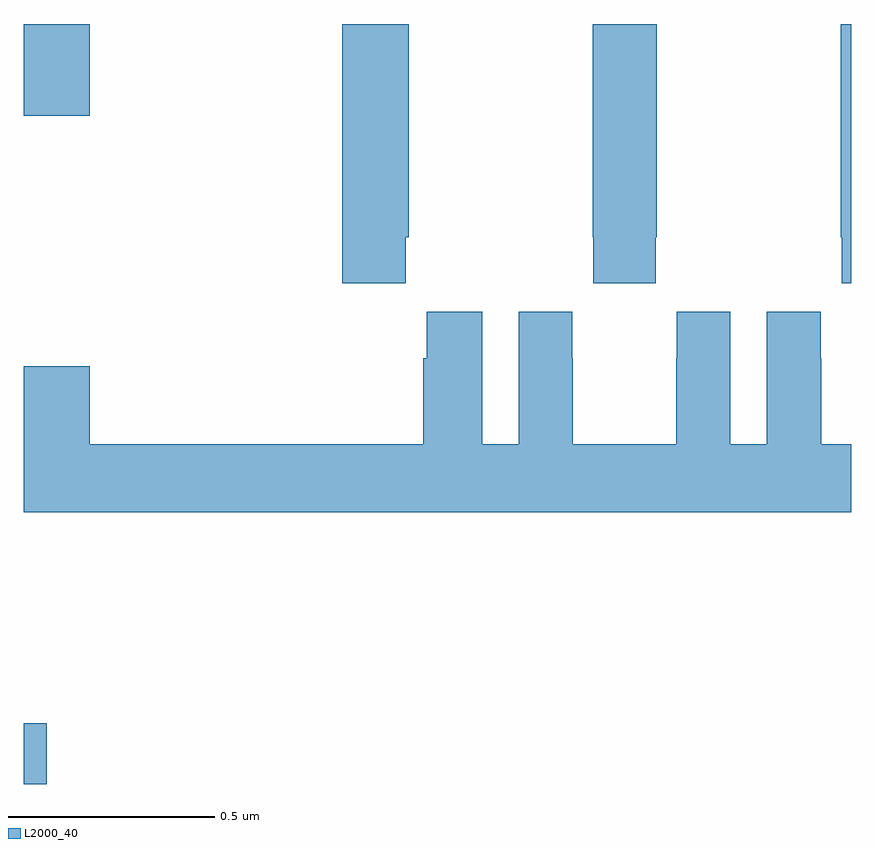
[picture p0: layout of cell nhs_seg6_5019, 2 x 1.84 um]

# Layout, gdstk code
import gdstk
lib = gdstk.Library(unit=1e-6, precision=1e-09)
def R(c, l, rs):  # rectangles x0, y0, x1, y1
    for r in rs: c.add(gdstk.rectangle(r[:2], r[2:], *l))
def P(c, l, *ps):  # polygons
    for p in ps: c.add(gdstk.Polygon(p, *l))
L2000_40 = (2000, 40)

nhs_seg6_5019 = lib.new_cell('nhs_seg6_5019')
R(nhs_seg6_5019, L2000_40, [(177,962.663,177.055,962.81), (177,964.278,177.16,964.5)])
P(nhs_seg6_5019, L2000_40, [(177.923,963.985),(177.93,963.985),(177.93,964.5),(177.77,964.5),(177.77,963.873),(177.923,963.873)],
  [(178.527,963.985),(178.53,963.985),(178.53,964.5),(178.375,964.5),(178.375,963.985),(178.377,963.985),(178.377,963.873),(178.527,963.873)],
  [(179,964.5),(178.975,964.5),(178.975,963.985),(178.977,963.985),(178.977,963.873),(179,963.873)],
  [(179,963.484),(178.927,963.484),(178.927,963.692),(178.926,963.692),(178.926,963.805),(178.796,963.805),(178.796,963.484),(178.708,963.484),(178.708,963.805),(178.578,963.805),(178.578,963.692),(178.577,963.692),(178.577,963.484),(178.327,963.484),(178.327,963.692),(178.326,963.692),(178.326,963.805),(178.196,963.805),(178.196,963.484),(178.108,963.484),(178.108,963.805),(177.974,963.805),(177.974,963.692),(177.965,963.692),(177.965,963.484),(177.16,963.484),(177.16,963.673),(177,963.673),(177,963.32),(179,963.32)])

lib.write_gds('nhs_seg6_5019.gds')
